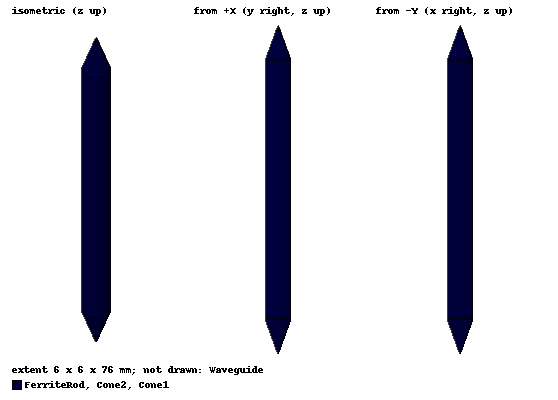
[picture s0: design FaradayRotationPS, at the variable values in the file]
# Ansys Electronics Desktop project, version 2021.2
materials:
  vacuum: permittivity=1
  pec: conductivity=1e+30
  ferrite: permittivity=12 permeability=1000 conductivity=0.01
  newFerrite1: permittivity=12 permeability{Component1=2.7511605 Component2="0 + 1.4934676i" Component3=0 Component4=-1.4934676j Component5=2.7511605 Component6=0 Component7=0 Component8=0 Component9=1} saturation_mag=3000gauss delta_H_freq=15GHz

design FaradayRotationPS (HFSS, DrivenModal, model units mm)
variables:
  WG_radius = 7mm
  WG_length = 80mm
  centFreq = 15GHz
  Rod_radius = 3mm
  Ms = 3000gauss
  Rod_length = 60mm
  coil_current = 1500mA
  coil_turns = 20000
  H0 = coil_turns*coil_current/coil_length A_per_m
  eMass = 9.10938356e-31kg
  eCharge = 1.60217662e-19Coulomb
  gyroRatio = eCharge/eMass
  temp_ind1 = 400*pi nH
  temp_len = 1000mm
  mu0 = temp_ind1/temp_len
  omega = (centFreq/1e9) GHz
  omega0 = mu0*gyroRatio*H0/(2*pi*1e9) GHz
  omegam = (mu0*gyroRatio*Ms*1000/(4*pi)/(2*pi*1e9)*1e4) GHz
  mu = 1+(omega0*omegam)/(omega0^2-omega^2)
  kapa = (omega*omegam)/(omega0^2-omega^2)
  coil_length = 60mm
  cone_Lradius = 0.1mm
  cone_length = 8mm
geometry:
  Waveguide [vacuum] = cylinder(axis=Z, base_centre=(0mm, 0mm, 0mm), radius=WG_radius, height=WG_length)
  FerriteRod [newFerrite1] = cylinder(axis=Z, base_centre=(0mm, 0mm, (WG_length-Rod_length)/2), radius=Rod_radius, height=Rod_length)
  Cone1 [newFerrite1] = cone(axis=Z, base_centre=(0mm, 0mm, (WG_length-Rod_length)/2-cone_length), bottom_radius=cone_Lradius, top_radius=Rod_radius, height=cone_length)
  Cone2 [newFerrite1] = cone(axis=Z, base_centre=(0mm, 0mm, (WG_length-Rod_length)/2+Rod_length), bottom_radius=Rod_radius, top_radius=cone_Lradius, height=cone_length)
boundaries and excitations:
  MagBias1: Magnetic Bias Objects=[Cone1, Cone2, FerriteRod] IsUniformBias Bias=H0 XAngle=0deg YAngle=0deg ZAngle=0deg PathRelativeTo=TargetProject MKSBias=H0
  PerfE_WG: Perfect E Faces=Waveguide.face(1 of 3)
  WGPort1: Wave Port Faces=Waveguide.face(2 of 3) NumModes=2 Modes{Mode1{CharImp=Zpi} Mode2{CharImp=Zpi}}
  WGPort2: Wave Port Faces=Waveguide.face(3 of 3) NumModes=2 Modes{Mode1{CharImp=Zpi} Mode2{CharImp=Zpi}}
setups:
  Setup1: HfssDriven Frequency=15GHz MaxDeltaS=0.02 MaximumPasses=6 MinimumPasses=1 MinimumConvergedPasses=1 PercentRefinement=30 BasisOrder=1 PortAccuracy=2
    sweep Sweep: 14.5GHz to 15.5GHz step 0.03GHz; Type=Interpolating InterpTolerance=0.5 InterpMaxSolns=250 InterpUsePortImped=false PassivityErrorTolerance=0.0001
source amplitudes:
  WGPort1:1: 1W 0deg
  WGPort1:2, WGPort2:1, WGPort2:2: 0W 0deg
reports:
  S Parameter Plot 1: dB(S(WGPort1,WGPort1)), dB(S(WGPort2,WGPort1)), dB(S(WGPort1,WGPort2)), dB(S(WGPort2,WGPort2)) vs Freq on Setup1 : Sweep
  S Parameter Plot 2: ang_deg(S(WGPort2:1,WGPort1:1)) vs Freq on Setup1 : Sweep
  S Parameter Plot 3: ang_deg(S(WGPort1:1,WGPort2:1)) vs Freq on Setup1 : Sweep
  S Parameter Plot 4: cang_deg(S(WGPort2:1,WGPort1:1)) vs Freq on Setup1 : Sweep; markers m2 at 15.01GHz
